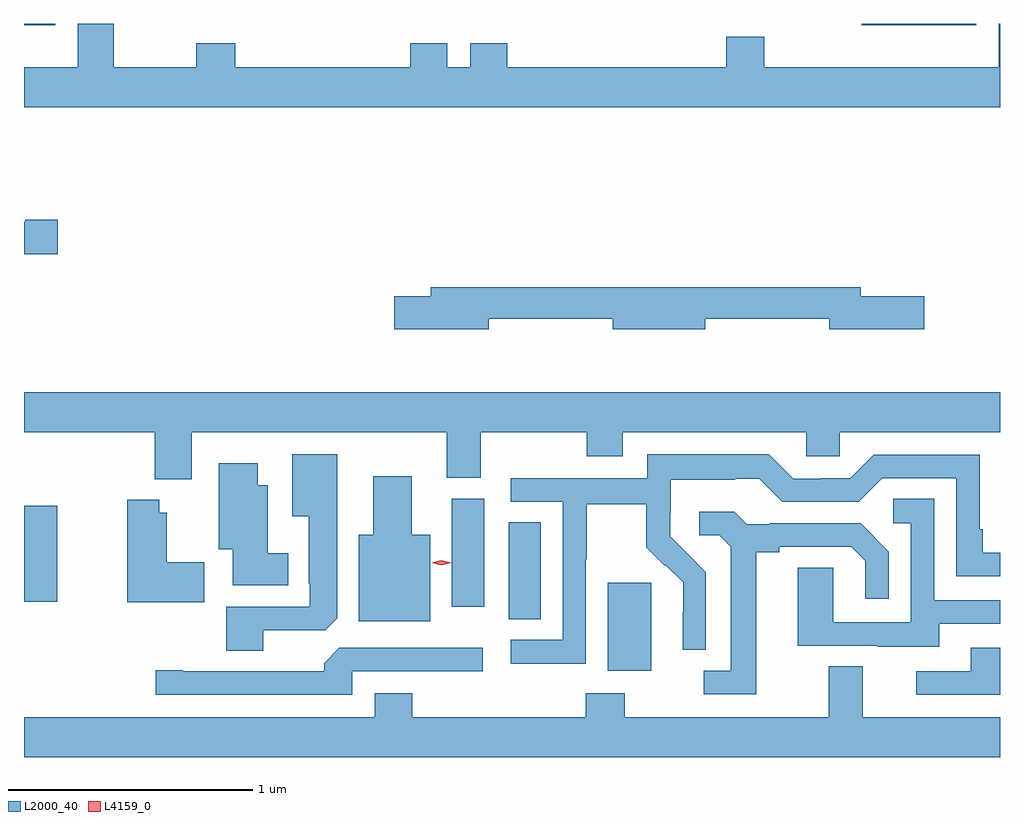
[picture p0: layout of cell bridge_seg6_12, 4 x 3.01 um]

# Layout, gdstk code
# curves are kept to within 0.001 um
import gdstk
lib = gdstk.Library(unit=1e-6, precision=1e-09)
def R(c, l, rs):  # rectangles x0, y0, x1, y1
    for r in rs: c.add(gdstk.rectangle(r[:2], r[2:], *l))
def P(c, l, *ps):  # polygons
    for p in ps: c.add(gdstk.Polygon(p, *l))
L2000_40 = (2000, 40)
L4159_0 = (4159, 0)

bridge_seg6_12 = lib.new_cell('bridge_seg6_12')
R(bridge_seg6_12, L2000_40, [(973.625,950.354,973.804,950.715), (973.22,950.566,973.351,950.963), (972.986,950.616,973.12,951.06), (971.233,950.637,971.37,951.031), (971.233,953,971.362,953.006), (974.667,953,975.136,953.006)])
P(bridge_seg6_12, L2000_40, [(975.233,953.006),(975.227,953.006),(975.227,952.828),(974.267,952.828),(974.267,952.952),(974.111,952.952),(974.111,952.828),(973.214,952.828),(973.214,952.927),(973.061,952.927),(973.061,952.828),(972.967,952.828),(972.967,952.927),(972.815,952.927),(972.815,952.828),(972.098,952.828),(972.098,952.927),(971.938,952.927),(971.938,952.828),(971.601,952.828),(971.601,953.006),(971.453,953.006),(971.453,952.828),(971.233,952.828),(971.233,952.664),(975.233,952.664)],
  [(971.371,952.203),(971.238,952.203),(971.238,952.195),(971.233,952.195),(971.233,952.061),(971.371,952.061)],
  [(973.138,951.798),(973.646,951.798),(973.646,951.755),(974.026,951.755),(974.026,951.798),(974.534,951.798),(974.534,951.755),(974.923,951.755),(974.923,951.89),(974.662,951.89),(974.662,951.926),(972.899,951.926),(972.899,951.89),(972.75,951.89),(972.75,951.755),(973.138,951.755)],
  [(971.92,951.332),(972.965,951.332),(972.965,951.145),(973.105,951.145),(973.105,951.332),(973.54,951.332),(973.54,951.233),(973.687,951.233),(973.687,951.332),(974.439,951.332),(974.439,951.234),(974.577,951.234),(974.577,951.332),(975.233,951.332),(975.233,951.496),(971.233,951.496),(971.233,951.332),(971.768,951.332),(971.768,951.14),(971.92,951.14)],
  [(973.536,950.812),(973.539,950.812),(973.539,951.036),(973.783,951.036),(973.783,950.861),(973.86,950.784),(973.863,950.787),(973.934,950.717),(973.934,950.594),(973.932,950.594),(973.932,950.44),(974.028,950.44),(974.028,950.758),(973.882,950.906),(973.882,951.003),(973.884,951.003),(973.884,951.137),(974.147,951.137),(974.147,951.141),(974.247,951.141),(974.34,951.048),(974.655,951.048),(974.751,951.144),(975.054,951.144),(975.054,950.742),(975.233,950.742),(975.233,950.838),(975.163,950.838),(975.163,950.935),(975.15,950.935),(975.15,951.24),(974.715,951.24),(974.619,951.144),(974.501,951.144),(974.501,951.141),(974.385,951.141),(974.285,951.241),(973.788,951.241),(973.788,951.144),(973.227,951.144),(973.227,951.048),(973.44,951.048),(973.44,950.481),(973.227,950.481),(973.227,950.383),(973.536,950.383)],
  [(972.214,950.52),(972.468,950.52),(972.517,950.569),(972.517,951.241),(972.332,951.241),(972.332,950.987),(972.401,950.987),(972.401,950.713),(972.405,950.713),(972.405,950.616),(972.062,950.616),(972.062,950.437),(972.214,950.437)],
  [(972.316,950.836),(972.232,950.836),(972.232,951.115),(972.19,951.115),(972.19,951.205),(972.032,951.205),(972.032,950.852),(972.089,950.852),(972.089,950.705),(972.316,950.705)],
  [(972.898,950.911),(972.823,950.911),(972.823,951.151),(972.665,951.151),(972.665,950.911),(972.605,950.911),(972.605,950.558),(972.898,950.558)],
  [(974.983,950.547),(975.233,950.547),(975.233,950.643),(974.964,950.643),(974.964,951.059),(974.796,951.059),(974.796,950.958),(974.868,950.958),(974.868,950.553),(974.55,950.553),(974.55,950.777),(974.405,950.777),(974.405,950.457),(974.729,950.457),(974.729,950.453),(974.983,950.453)],
  [(971.971,950.799),(971.818,950.799),(971.818,951.001),(971.788,951.001),(971.788,951.055),(971.656,951.055),(971.656,950.636),(971.971,950.636)],
  [(974.233,950.84),(974.329,950.84),(974.329,950.862),(974.624,950.862),(974.681,950.805),(974.681,950.649),(974.778,950.649),(974.778,950.842),(974.662,950.958),(974.29,950.958),(974.29,950.955),(974.196,950.955),(974.144,951.007),(974.001,951.007),(974.001,950.91),(974.082,950.91),(974.129,950.863),(974.129,950.355),(974.019,950.355),(974.019,950.259),(974.233,950.259)],
  [(972.579,950.352),(973.114,950.352),(973.114,950.448),(972.525,950.448),(972.464,950.386),(972.464,950.352),(971.884,950.352),(971.884,950.357),(971.772,950.357),(971.772,950.256),(972.579,950.256)],
  [(975.233,950.448),(975.113,950.448),(975.113,950.352),(974.889,950.352),(974.889,950.256),(975.233,950.256)],
  [(975.233,950.164),(974.671,950.164),(974.671,950.372),(974.531,950.372),(974.531,950.164),(973.695,950.164),(973.695,950.263),(973.535,950.263),(973.535,950.164),(972.824,950.164),(972.824,950.263),(972.671,950.263),(972.671,950.164),(971.233,950.164),(971.233,950),(975.233,950)])
P(bridge_seg6_12, L4159_0, [(972.944,950.787),(972.905,950.797),(972.905,950.797),(972.905,950.797),(972.944,950.807),(972.984,950.798),(972.984,950.798),(972.984,950.798)])

lib.write_gds('bridge_seg6_12.gds')
